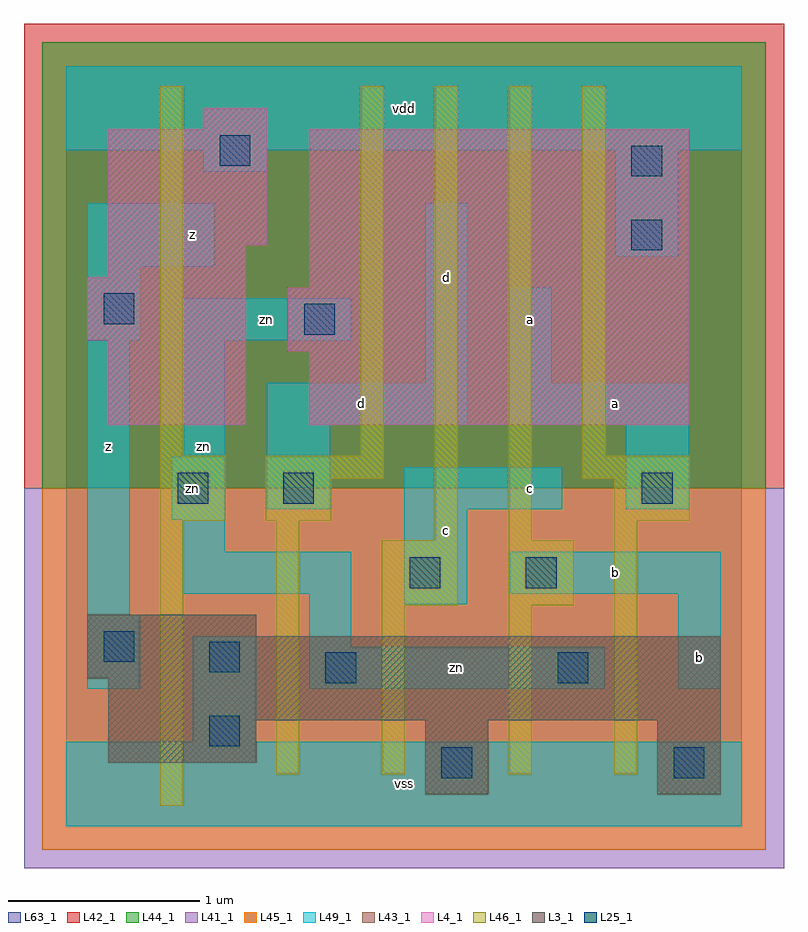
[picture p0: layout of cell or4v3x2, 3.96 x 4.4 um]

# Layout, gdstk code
import gdstk
lib = gdstk.Library(unit=1e-6, precision=1e-09)
def R(c, l, rs):  # rectangles x0, y0, x1, y1
    for r in rs: c.add(gdstk.rectangle(r[:2], r[2:], *l))
L3_1 = (3, 1)
L4_1 = (4, 1)
L25_1 = (25, 1)
L41_1 = (41, 1)
L42_1 = (42, 1)
L43_1 = (43, 1)
L44_1 = (44, 1)
L45_1 = (45, 1)
L46_1 = (46, 1)
L49_1 = (49, 1)
L63_1 = (63, 1)

or4v3x2 = lib.new_cell('or4v3x2')
R(or4v3x2, L3_1, [(1.87,0.165,2.2,0.55), (3.08,0.165,3.41,0.55), (0.22,0.33,0.99,0.55), (0.22,0.55,3.41,0.77), (0.11,0.77,3.41,0.99), (0.11,0.99,0.99,1.1)])
R(or4v3x2, L4_1, [(0.22,2.09,0.935,2.53), (1.265,2.09,3.245,2.475), (1.155,2.475,3.245,2.805), (0.11,2.53,0.935,2.86), (1.265,2.805,3.245,3.63), (0.22,2.86,0.935,3.025), (0.22,3.025,1.045,3.63), (0.715,3.63,1.045,3.74)])
R(or4v3x2, L25_1, [(1.955,0.25,2.115,0.41), (3.165,0.25,3.325,0.41), (0.745,0.415,0.905,0.575), (1.35,0.745,1.51,0.905), (2.56,0.745,2.72,0.905), (0.745,0.8,0.905,0.96), (0.195,0.855,0.355,1.015), (1.79,1.24,1.95,1.4), (2.395,1.24,2.555,1.4), (0.58,1.68,0.74,1.84), (1.13,1.68,1.29,1.84), (3,1.68,3.16,1.84), (1.24,2.56,1.4,2.72), (0.195,2.615,0.355,2.775), (2.945,3,3.105,3.16), (2.945,3.385,3.105,3.545), (0.8,3.44,0.96,3.6)])
R(or4v3x2, L41_1, [(-0.22,-0.22,3.74,1.76)])
R(or4v3x2, L42_1, [(-0.22,1.76,3.74,4.18)])
R(or4v3x2, L43_1, [(1.87,0.165,2.2,0.55), (3.08,0.165,3.41,0.55), (0.22,0.33,0.99,0.55), (0.22,0.55,3.41,0.77), (0.11,0.77,3.41,0.99), (0.11,0.99,0.99,1.1), (0.22,2.09,0.935,2.53), (1.265,2.09,3.245,2.475), (1.155,2.475,3.245,2.805), (0.11,2.53,0.935,2.86), (1.265,2.805,3.245,3.63), (0.22,2.86,0.935,3.025), (0.22,3.025,1.045,3.63), (0.715,3.63,1.045,3.74)])
R(or4v3x2, L44_1, [(-0.125,1.76,3.645,4.085)])
R(or4v3x2, L45_1, [(-0.125,-0.125,3.645,1.76)])
R(or4v3x2, L46_1, [(0.49,0.105,0.61,1.59), (1.095,0.27,1.215,1.59), (1.645,0.27,1.765,1.15), (2.305,0.27,2.425,1.15), (2.855,0.27,2.975,1.59), (1.645,1.15,2.04,1.49), (2.305,1.15,2.645,1.49), (1.92,1.49,2.04,3.855), (2.305,1.49,2.425,3.855), (0.49,1.59,0.83,1.93), (1.04,1.59,1.38,1.81), (2.855,1.59,3.25,1.81), (1.04,1.81,1.655,1.93), (2.69,1.81,3.25,1.93), (0.49,1.93,0.61,3.855), (1.535,1.93,1.655,3.855), (2.69,1.93,2.81,3.855)])
R(or4v3x2, L49_1, [(0,0,3.52,0.44), (0.66,0.44,0.99,0.99), (0.11,0.715,0.385,1.1), (1.265,0.715,2.805,0.935), (3.19,0.715,3.41,1.21), (1.265,0.935,1.485,1.21), (0.11,1.1,0.33,2.53), (1.76,1.155,2.09,1.65), (0.605,1.21,1.485,1.43), (2.31,1.21,3.41,1.43), (0.605,1.43,0.825,1.595), (0.55,1.595,0.825,1.925), (1.045,1.65,1.375,2.09), (1.76,1.65,2.585,1.87), (2.915,1.65,3.245,2.09), (0.605,1.925,0.825,2.53), (1.045,2.09,2.09,2.31), (2.31,2.09,3.245,2.31), (1.87,2.31,2.09,3.245), (2.31,2.31,2.53,2.805), (0.11,2.53,0.385,2.915), (0.605,2.53,1.485,2.75), (0.11,2.915,0.77,3.245), (2.86,2.97,3.19,3.52), (0.715,3.41,1.045,3.52), (0,3.52,3.52,3.96)])
R(or4v3x2, L63_1, [(0,0,3.52,3.96)])
or4v3x2.add(gdstk.Label('zn', (0.66,1.76), layer=49, texttype=1))
or4v3x2.add(gdstk.Label('z', (0.22,1.98), layer=49, texttype=1))
or4v3x2.add(gdstk.Label('z', (0.66,3.08), layer=49, texttype=1))
or4v3x2.add(gdstk.Label('d', (1.54,2.2), layer=49, texttype=1))
or4v3x2.add(gdstk.Label('zn', (0.715,1.98), layer=49, texttype=1))
or4v3x2.add(gdstk.Label('zn', (1.045,2.64), layer=49, texttype=1))
or4v3x2.add(gdstk.Label('vss', (1.76,0.22), layer=49, texttype=1))
or4v3x2.add(gdstk.Label('c', (1.98,1.54), layer=49, texttype=1))
or4v3x2.add(gdstk.Label('c', (2.42,1.76), layer=49, texttype=1))
or4v3x2.add(gdstk.Label('d', (1.98,2.86), layer=49, texttype=1))
or4v3x2.add(gdstk.Label('a', (2.42,2.64), layer=49, texttype=1))
or4v3x2.add(gdstk.Label('vdd', (1.76,3.74), layer=49, texttype=1))
or4v3x2.add(gdstk.Label('zn', (2.035,0.825), layer=49, texttype=1))
or4v3x2.add(gdstk.Label('b', (3.3,0.88), layer=49, texttype=1))
or4v3x2.add(gdstk.Label('b', (2.86,1.32), layer=49, texttype=1))
or4v3x2.add(gdstk.Label('a', (2.86,2.2), layer=49, texttype=1))

lib.write_gds('or4v3x2.gds')
